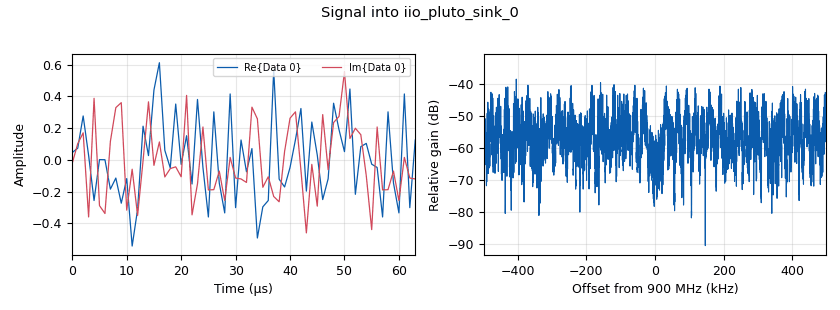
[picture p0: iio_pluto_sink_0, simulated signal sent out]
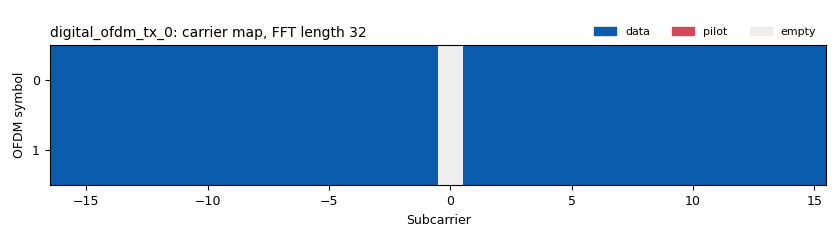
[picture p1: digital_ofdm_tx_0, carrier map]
options:
  parameters:
    category: Custom
    generate_options: qt_gui
    id: tx_ofdm
    output_language: python
    title: TX OFDM
  states: {}

blocks:
- name: fft2
  id: variable
  parameters:
    value: int(fft_len/2)
  states: {}
- name: fft_len
  id: variable
  parameters:
    value: '32'
  states: {}
- name: frame_len
  id: variable
  parameters:
    value: '4096'
  states: {}
- name: freqc
  id: variable
  parameters:
    value: 900e6
  states: {}
- name: header_equalizer
  id: variable
  parameters:
    value: digital.ofdm_equalizer_static(fft_len,  occupied_carriers, pilot_carriers, pilot_symbols,0,True)
  states: {}
- name: header_formatter
  id: variable
  parameters:
    value: digital.packet_header_ofdm(occupied_carriers, n_syms=1, len_tag_key=packet_length_tag_key, frame_len_tag_key=length_tag_key, bits_per_header_sym=header_mod.bits_per_symbol(), bits_per_payload_sym=payload_mod.bits_per_symbol(), scramble_header=False)
  states: {}
- name: header_mod
  id: variable
  parameters:
    value: digital.constellation_bpsk()
  states: {}
- name: length_tag_key
  id: variable
  parameters:
    value: '"frame_len"'
  states: {}
- name: num_syms
  id: variable_qtgui_range
  parameters:
    gui_hint: 10,0,1,8
    label: '# of Symbols per Pkt'
    orient: Qt.Horizontal
    start: '50'
    step: '1'
    stop: '50'
    value: '50'
  states: {state: disabled}
- name: num_syms
  id: variable
  parameters:
    value: '16'
  states: {}
- name: occupied_carriers
  id: variable
  parameters:
    value: (list(range(-26, -21)) + list(range(-20, -7)) + list(range(-6, 0)) + list(range(1, 7)) + list(range(8, 21)) + list(range(22, 27)),)
  states: {state: disabled}
- name: occupied_carriers
  id: variable
  parameters:
    value: (list(range(-fft2, 0)) + list(range(1, fft2+1)), )
  states: {}
- name: offset
  id: variable
  parameters:
    value: '8'
  states: {}
- name: packet_len
  id: variable
  parameters:
    value: int(96/8 * num_syms)
  states: {}
- name: packet_length_tag_key
  id: variable
  parameters:
    value: '"packet_len"'
  states: {}
- name: payload_equalizer
  id: variable
  parameters:
    value: digital.ofdm_equalizer_static(fft_len,  occupied_carriers, pilot_carriers, pilot_symbols,0,True)
  states: {}
- name: payload_mod
  id: variable
  parameters:
    value: digital.constellation_qpsk()
  states: {}
- name: pilot_carriers
  id: variable
  parameters:
    value: ((-21, -7, 7, 21,),)
  states: {}
- name: pilot_symbols
  id: variable
  parameters:
    value: ((1, 1, 1, -1,),)
  states: {}
- name: rx_gain
  id: variable_qtgui_range
  parameters:
    gui_hint: 0,0,1,8
    label: RX Gain
    orient: Qt.Horizontal
    start: '0'
    step: '1'
    stop: '64'
    value: '30'
  states: {}
- name: samp_rate
  id: variable
  parameters:
    value: 1e6
  states: {}
- name: sync_word1
  id: variable
  parameters:
    value: '[0., 0., 0., 0., 0., 0., 0., 1.41421356, 0., -1.41421356, 0., 1.41421356, 0., -1.41421356, 0., -1.41421356, 0., -1.41421356, 0., 1.41421356, 0., -1.41421356, 0., 1.41421356, 0., -1.41421356, 0., -1.41421356, 0., -1.41421356, 0., -1.41421356, 0., 1.41421356, 0., -1.41421356, 0., 1.41421356, 0., 1.41421356, 0., 1.41421356, 0., -1.41421356, 0., 1.41421356, 0., 1.41421356, 0., 1.41421356, 0., -1.41421356, 0., 1.41421356, 0., 1.41421356, 0., 1.41421356, 0., 0., 0., 0., 0., 0.]'
  states: {}
- name: sync_word2
  id: variable
  parameters:
    value: '[0j, 0j, 0j, 0j, 0j, 0j, (-1+0j), (-1+0j), (-1+0j), (-1+0j), (1+0j), (1+0j), (-1+0j), (-1+0j), (-1+0j), (1+0j), (-1+0j), (1+0j), (1+0j), (1 +0j), (1+0j), (1+0j), (-1+0j), (-1+0j), (-1+0j), (-1+0j), (-1+0j), (1+0j), (-1+0j), (-1+0j), (1+0j), (-1+0j), 0j, (1+0j), (-1+0j), (1+0j), (1+0j), (1+0j), (-1+0j), (1+0j), (1+0j), (1+0j), (-1+0j), (1+0j), (1+0j), (1+0j), (1+0j), (-1+0j), (1+0j), (-1+0j), (-1+0j), (-1+0j), (1+0j), (-1+0j), (1+0j), (-1+0j), (-1+0j), (-1+0j), (-1+0j), 0j, 0j, 0j, 0j, 0j]'
  states: {}
- name: tx_amp
  id: variable_qtgui_range
  parameters:
    gui_hint: 1,0,1,8
    label: TX Amplitude
    orient: Qt.Horizontal
    start: '0'
    step: '.001'
    stop: '2'
    value: '1'
  states: {}
- name: blocks_complex_to_mag_squared_0
  id: blocks_complex_to_mag_squared
  parameters: {}
  states: {}
- name: blocks_divide_xx_0
  id: blocks_divide_xx
  parameters:
    type: float
  states: {}
- name: blocks_moving_average_xx_0
  id: blocks_moving_average_xx
  parameters:
    length: frame_len
    max_iter: frame_len*4
    scale: 1/frame_len
    type: float
  states: {}
- name: blocks_moving_average_xx_0_0
  id: blocks_moving_average_xx
  parameters:
    length: frame_len
    max_iter: frame_len*4
    scale: 1/frame_len
    type: float
  states: {}
- name: blocks_multiply_const_vxx_0
  id: blocks_multiply_const_vxx
  parameters:
    const: tx_amp/30
    type: complex
  states: {}
- name: blocks_nlog10_ff_0
  id: blocks_nlog10_ff
  parameters:
    k: '0'
    n: '10'
  states: {}
- name: blocks_stream_to_tagged_stream_0
  id: blocks_stream_to_tagged_stream
  parameters:
    len_tag_key: packet_length_tag_key
    packet_len: packet_len
    type: byte
  states: {}
- name: blocks_vector_source_x_0
  id: blocks_vector_source_x
  parameters:
    repeat: 'True'
    type: byte
    vector: (1, 1, 1, 1)
  states: {}
- name: digital_ofdm_tx_0
  id: digital_ofdm_tx
  parameters:
    cp_len: fft_len//4
    fft_len: fft_len
    header_mod: '"QPSK"'
    occupied_carriers: occupied_carriers
    packet_len_key: packet_length_tag_key
    payload_mod: '"QPSK"'
    pilot_carriers: ''
    pilot_symbols: ''
    rolloff: '0'
    scramble_bits: 'True'
    sync_word1: ''
    sync_word2: ''
  states: {}
- name: iio_pluto_sink_0
  id: iio_pluto_sink
  parameters:
    attenuation1: '10.0'
    auto_filter: 'True'
    bandwidth: '20000000'
    buffer_size: '32768'
    cyclic: 'False'
    frequency: int(freqc)
    samplerate: int(samp_rate)
    uri: usb:1.3.5
  states: {}
- name: iio_pluto_source_0
  id: iio_pluto_source
  parameters:
    auto_filter: 'True'
    bandwidth: '20000000'
    bbdc: 'True'
    buffer_size: '32768'
    frequency: int(freqc)
    gain1: '''manual'''
    manual_gain1: rx_gain
    quadrature: 'True'
    rfdc: 'True'
    samplerate: int(samp_rate*2)
    uri: usb:1.4.5
  states: {}
- name: import_0
  id: import
  parameters:
    imports: import numpy as np
  states: {}
- name: import_1
  id: import
  parameters:
    imports: from gnuradio.digital.utils import tagged_streams
  states: {}
- name: qtgui_freq_sink_x_0
  id: qtgui_freq_sink_x
  parameters:
    average: '0.1'
    bw: samp_rate*2
    ctrlpanel: 'True'
    fc: '0'
    fftsize: '1024'
    grid: 'True'
    gui_hint: 2,0,8,8
    type: complex
    wintype: firdes.WIN_BLACKMAN_hARRIS
    ymax: '-40'
    ymin: '-120'
  states: {}
- name: qtgui_number_sink_0
  id: qtgui_number_sink
  parameters:
    graph_type: qtgui.NUM_GRAPH_HORIZ
    gui_hint: 11,0,1,4
    name: PAPR
    type: float
  states: {}
- name: qtgui_number_sink_0_0
  id: qtgui_number_sink
  parameters:
    graph_type: qtgui.NUM_GRAPH_HORIZ
    gui_hint: 12,0,1,8
    name: MAX
    type: float
  states: {state: disabled}
- name: qtgui_number_sink_0_0_0
  id: qtgui_number_sink
  parameters:
    graph_type: qtgui.NUM_GRAPH_HORIZ
    gui_hint: 13,0,1,8
    name: AVG
    type: float
  states: {state: disabled}
- name: qtgui_number_sink_0_1
  id: qtgui_number_sink
  parameters:
    graph_type: qtgui.NUM_GRAPH_HORIZ
    gui_hint: 11,4,1,4
    name: PAPR (dB)
    type: float
  states: {}
- name: wes_max_ff_0
  id: wes_max_ff
  parameters:
    frame_len: frame_len
  states: {}

connections:
- [blocks_complex_to_mag_squared_0, '0', blocks_moving_average_xx_0, '0']
- [blocks_complex_to_mag_squared_0, '0', wes_max_ff_0, '0']
- [blocks_divide_xx_0, '0', blocks_moving_average_xx_0_0, '0']
- [blocks_moving_average_xx_0, '0', blocks_divide_xx_0, '1']
- [blocks_moving_average_xx_0, '0', qtgui_number_sink_0_0_0, '0']
- [blocks_moving_average_xx_0_0, '0', blocks_nlog10_ff_0, '0']
- [blocks_moving_average_xx_0_0, '0', qtgui_number_sink_0, '0']
- [blocks_multiply_const_vxx_0, '0', blocks_complex_to_mag_squared_0, '0']
- [blocks_multiply_const_vxx_0, '0', iio_pluto_sink_0, '0']
- [blocks_nlog10_ff_0, '0', qtgui_number_sink_0_1, '0']
- [blocks_stream_to_tagged_stream_0, '0', digital_ofdm_tx_0, '0']
- [blocks_vector_source_x_0, '0', blocks_stream_to_tagged_stream_0, '0']
- [digital_ofdm_tx_0, '0', blocks_multiply_const_vxx_0, '0']
- [iio_pluto_source_0, '0', qtgui_freq_sink_x_0, '0']
- [wes_max_ff_0, '0', blocks_divide_xx_0, '0']
- [wes_max_ff_0, '0', qtgui_number_sink_0_0, '0']

metadata:
  file_format: 1
